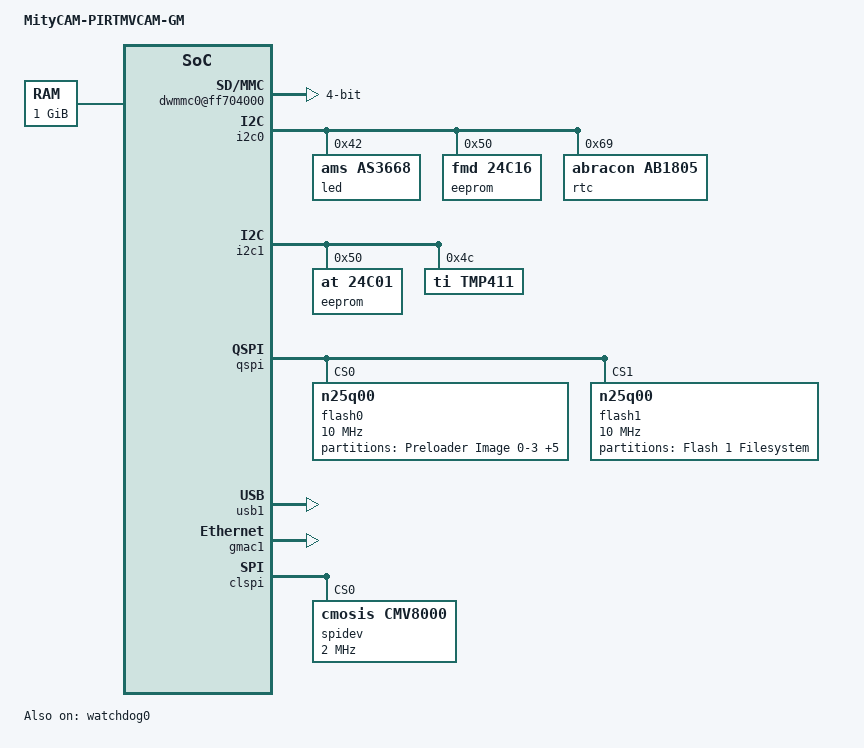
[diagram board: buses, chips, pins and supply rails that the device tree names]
/*
 *  Copyright (C) 2012 Altera Corporation <www.altera.com>
 *
 * This program is free software; you can redistribute it and/or modify
 * it under the terms of the GNU General Public License as published by
 * the Free Software Foundation; either version 2 of the License, or
 * (at your option) any later version.
 *
 * This program is distributed in the hope that it will be useful,
 * but WITHOUT ANY WARRANTY; without even the implied warranty of
 * MERCHANTABILITY or FITNESS FOR A PARTICULAR PURPOSE.  See the
 * GNU General Public License for more details.
 *
 * You should have received a copy of the GNU General Public License
 * along with this program.  If not, see <http://www.gnu.org/licenses/>.
 */

/dts-v1/;
#include "socfpga.dtsi"
#include <dt-bindings/interrupt-controller/irq.h>

/ {
	model = "MityCAM-PIRTMVCAM-GM";
	compatible = "cl,mitycam-pirtmvcam-ge", "altr,socfpga-cyclone5", "altr,socfpga";

	chosen {
		bootargs = "console=ttyS0,115200 root=/dev/mmcblk0p2 rw rootwait";
	};

	memory {
		name = "memory";
		device_type = "memory";
		reg = <0x0 0x40000000>; /* 1 GB */
	};

	aliases {
		/* this allow the ethaddr uboot environmnet variable contents
		 * to be added to the gmac1 device tree blob.
		 */
		ethernet0 = &gmac1;
	};

	soc {
		clkmgr@ffd04000 {
			clocks {
				osc1 {
					clock-frequency = <25000000>;
				};
			};
		};

		dwmmc0@ff704000 {
			num-slots = <1>;
			supports-highspeed;
			broken-cd;
			altr,dw-mshc-ciu-div = <3>;
			altr,dw-mshc-sdr-timing = <0 3>;
			bus-width = <4>;
			status = "okay";
		};

		i2c0: i2c@ffc04000 {
			speed-mode = <0>;
			status = "okay";
		};

		i2c1: i2c@ffc05000 {
			speed-mode = <0>;
			status = "okay";
		};

		qspi: spi@ff705000 {
			compatible = "cadence,qspi";
                        #address-cells = <1>;
			#size-cells = <0>;
			reg = <0xff705000 0x1000>,
				<0xffa00000 0x1000>;
			interrupts = <0 151 4>;
			master-ref-clk = <400000000>;
			ext-decoder = <0>;  /* external decoder */
			num-chipselect = <4>;
			fifo-depth = <128>;
			bus-num = <2>;

			flash0: n25q00@0 {
				#address-cells = <1>;
				#size-cells = <1>;
				compatible = "n25q00";
				reg = <0>;      /* chip select */
				spi-max-frequency = <10000000>;
				m25p,fast-read;
				page-size = <256>;
				block-size = <16>; /* 2^16, 64KB */
				read-delay = <4>;  /* delay value in read data capture register */
				tshsl-ns = <50>;
				tsd2d-ns = <50>;
				tchsh-ns = <4>;
				tslch-ns = <4>;

				partition@qspi-preloader {
					/* 64 KB for preloader image 0-3. */
					label = "Preloader Image 0-3";
					reg = <0x0 0x40000>;
				};
				partition@qspi-ubootenv {
					/* 64 KB for u-Boot Env. */
					label = "U-Boot Env";
					reg = <0x40000 0x10000>;
				};
				partition@qspi-dtb {
					/* 64 KB for DTB */
					label = "DTB";
					reg = <0x50000 0x10000>;
				};
				partition@qspi-uboot {
					/* 512 KB for U-Boot */
					label = "U-Boot";
					reg = <0x60000 0x80000>;
				};
				partition@qspi-kernel {
					/* 8 MB for Kernel */
					label = "Kernel";
					reg = <0xE0000 0x800000>;
				};
				partition@qspi-rootfs {
					/* 7.125 MB for jffs2 data. */
					label = "Flash 0 jffs2 Filesystem";
					reg = <0x8E0000 0x720000>;
				};
			};

			flash1: n25q00@1 {
				#address-cells = <1>;
				#size-cells = <1>;
				compatible = "n25q00";
				reg = <1>;      /* chip select */
				spi-max-frequency = <10000000>;
				m25p,fast-read;
				page-size = <256>;
				block-size = <16>; /* 2^16, 64KB */
				read-delay = <4>;  /* delay value in read data capture register */
				tshsl-ns = <50>;
				tsd2d-ns = <50>;
				tchsh-ns = <4>;
				tslch-ns = <4>;

				partition@0 {
					/* 16MB for raw data. */
					label = "Flash 1 Filesystem";
					reg = <0x0 0x1000000>;
				};
			};
		};

		timer0@ffc08000 {
			clock-frequency = <100000000>;
		};

		timer1@ffc09000 {
			clock-frequency = <100000000>;
		};

		timer2@ffd00000 {
			clock-frequency = <25000000>;
		};

		timer3@ffd01000 {
			clock-frequency = <25000000>;
		};

		serial0@ffc02000 {
			clock-frequency = <100000000>;
		};

		serial1@ffc03000 {
			clock-frequency = <100000000>;
		};

		sysmgr@ffd08000 {
			cpu1-start-addr = <0xffd080c4>;
		};

		usb1: usb@ffb40000 {
			compatible = "snps,dwc2-vbus-ext";
			status = "okay";
		};

		gpio@ff708000 {
			/* HPS_GPIO0 -> HPS_GPIO28*/
			status = "okay";
		};

		gpio@ff709000 {
			/* HPS_GPIO29 -> HPS_GPIO57 */
			status = "okay";
			portb: gpio-controller@0 {
				gpio-line-names =
				"", /* 29 */
				"", /* 30 */
				"", /* 31 */
				"", /* 32 */
				"", /* 33 */
				"", /* 34 */
				"", /* 35 */
				"", /* 36 */
				"", /* 37 */
				"", /* 38 */
				"", /* 39 */
				"", /* 40 */
				"", /* 41 */
				"", /* 42 */
				"", /* 43 */
				"", /* 44 */
				"", /* 45 */
				"", /* 46 */
				"", /* 47 */
				"", /* 48 */
				"", /* 49 */
				"", /* 50 */
				"", /* 51 */
				"", /* 52 */
				"SBF20x_TEMP_ALERT_n", /* 53 */
				"SBF20x_PWR_EN", /* 54 */
				"SBF20x_TEC_SD", /* 55 */
				"SBF20x_PWR_OK", /* 56 */
				""; /* 57 */
			};
		};

		gpio@ff70a000 {
			/* HPS_GPI0 -> HPS_GPI13, GPS_GPIO58 -> HPS_GPIO66 */
			status = "okay";
			portc: gpio-controller@0 {
				gpio-line-names = 
				"", /* 58 */
				"", /* 59 */
				"", /* 60 */
				"SBF20x_TEMP_GOOD_n", /* 61 */
				"", /* 62 */
				"", /* 63 */
				"", /* 64 */
				"", /* 65 */
				""; /* 66 */
			};
		};

		streamer0: streamer@20000000 {
			compatible = "uio,irq";
			interrupts = <0 41 4>;
		};

		gmac1: ethernet@ff702000 {
			status = "okay";
		};

		hps_lw_bus: bus@0ff200000 {
			compatible = "simple-bus";
			reg = <0xFF200000 0x00200000>;
			#address-cells = <1>;
			#size-cells = <1>;
			ranges = <0x0 0xFF200000 0x00200000>;
			status = "okay";

			/* sbf20x_data_proc               @00000, managed in userspace */
			/* sbf20x_sysclk_pll_reconfig     @00200, manager in userspace */
			/* sbf20x_lvds_pll_reconfig       @00300, manager in userspace */
			/* stream_to_camlink              @00400, managed in userspace */
			/* stream_to_frame_packet_adapter @00480, managed in userspace */
			/* sbf20x_sync_control            @00500, managed in userspace */

			/* sbf20x_cl_spi                  @00580, managed in userspace */
			clspi: spi@0580 {
				compatible = "cl,spi-1.0";
				#address-cells = <1>;
				#size-cells = <0>;
				reg = <0x00000580 0x0040>;
				interrupts = <0 42 4>;
				master-ref-clk = <66666666>;
				num-chipselect = <8>;
				bus-num = <3>;

				spidev@1 {
					spi-max-frequency = <2000000>;
					reg = <0>;
					compatible = "cmosis,cmv8000";
				};
			};

			/* stream_to_sdram_raster          @005c0, managed in userspace */
			/* to_camlink_demux_2to1           @00600, managed in userspace */

			/* cam_gpio                        @00620, managed in userspace */
			gpio3: gpio@B000 {
				compatible = "cl,camio-1.0";
				reg = <0x00000620 0x20>;
				interrupts = <0 40 4>;
				virtual_irq_start = <342>;
				interrupt-controller;
				#interrupt-cells = <2>;
				gpio-controller;
				#gpio-cells = <2>;
				gpio-line-names = "CAMIO1", "CAMIO2", "CAMIO3", "CAMIO4";
			};

			/* pirt_pixel_corr    @00640, managed in userspace */
			/* msgmda_dispatcher_descriptors @00660, managed in userspace */
			/* msgmda_dispatcher_csr         @00680, managed in userspace */

			/* qsys_id         @006a0, managed in userspace */
			sysid_qsys: sysid@06A0 {
				compatible = "altr,sysid-1.0";
				reg = <0x0006A0 0x08>;
			};

		};
	};

};

&watchdog0 {
	status = "okay";
};

&i2c0 {
	/* on SOM */
	led@42 {
		device_type = "led";
		compatible = "ams,as3668";
		reg = <0x42>;
	};
	/* on SOM */
	eeprom@50 {
		compatible = "fmd,24c16";
		reg = <0x50>;
	};
	/* on SOM */
	rtc@69 {
		device_type = "rtc";
		compatible = "abracon,ab1805";
		reg = <0x69>;
	};
};

&i2c1 {
	eeprom@50 {
		compatible = "at,24c01";
		pagesize = <8>;
		/* 1010000R */
		reg = <0x50>;
	};
	tmp411@4C {
		compatible = "ti,tmp411";
		/* 1001100R */
		reg = <0x4C>;
	};
};

